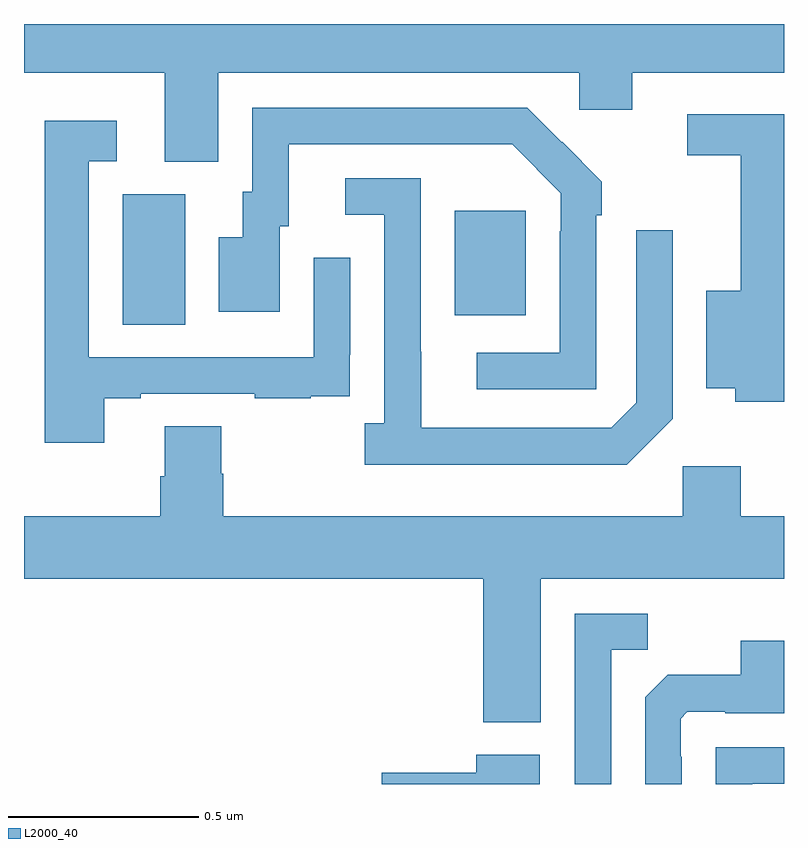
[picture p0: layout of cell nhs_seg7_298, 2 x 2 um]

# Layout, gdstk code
import gdstk
lib = gdstk.Library(unit=1e-6, precision=1e-09)
def R(c, l, rs):  # rectangles x0, y0, x1, y1
    for r in rs: c.add(gdstk.rectangle(r[:2], r[2:], *l))
def P(c, l, *ps):  # polygons
    for p in ps: c.add(gdstk.Polygon(p, *l))
L2000_40 = (2000, 40)

nhs_seg7_298 = lib.new_cell('nhs_seg7_298')
R(nhs_seg7_298, L2000_40, [(114.26,1077.208,114.424,1077.552), (115.133,1077.233,115.321,1077.508)])
P(nhs_seg7_298, L2000_40, [(114.511,1077.872),(115.461,1077.872),(115.461,1077.774),(115.6,1077.774),(115.6,1077.872),(116,1077.872),(116,1078),(114,1078),(114,1077.872),(114.371,1077.872),(114.371,1077.637),(114.511,1077.637)],
  [(115.506,1077.497),(115.521,1077.497),(115.521,1077.585),(115.416,1077.69),(115.415,1077.689),(115.324,1077.78),(114.6,1077.78),(114.6,1077.558),(114.575,1077.558),(114.575,1077.439),(114.512,1077.439),(114.512,1077.243),(114.673,1077.243),(114.673,1077.468),(114.697,1077.468),(114.697,1077.684),(115.285,1077.684),(115.413,1077.555),(115.413,1077.455),(115.41,1077.455),(115.41,1077.135),(115.191,1077.135),(115.191,1077.039),(115.506,1077.039)],
  [(116,1077.762),(115.746,1077.762),(115.746,1077.654),(115.886,1077.654),(115.886,1077.298),(115.796,1077.298),(115.796,1077.041),(115.872,1077.041),(115.872,1077.006),(116,1077.006)],
  [(114.211,1077.015),(114.307,1077.015),(114.307,1077.027),(114.607,1077.027),(114.607,1077.015),(114.755,1077.015),(114.755,1077.021),(114.857,1077.021),(114.857,1077.13),(114.858,1077.13),(114.858,1077.385),(114.762,1077.385),(114.762,1077.123),(114.171,1077.123),(114.171,1077.639),(114.244,1077.639),(114.244,1077.745),(114.055,1077.745),(114.055,1076.898),(114.211,1076.898)],
  [(115.707,1076.961),(115.707,1077.457),(115.611,1077.457),(115.611,1077.003),(115.545,1076.937),(115.045,1076.937),(115.045,1077.137),(115.044,1077.137),(115.044,1077.594),(114.846,1077.594),(114.846,1077.498),(114.948,1077.498),(114.948,1076.95),(114.897,1076.95),(114.897,1076.84),(115.586,1076.84)],
  [(115.36,1076.54),(116,1076.54),(116,1076.704),(115.886,1076.704),(115.886,1076.836),(115.734,1076.836),(115.734,1076.704),(114.524,1076.704),(114.524,1076.817),(114.519,1076.817),(114.519,1076.942),(114.371,1076.942),(114.371,1076.81),(114.359,1076.81),(114.359,1076.704),(114,1076.704),(114,1076.54),(115.208,1076.54),(115.208,1076.162),(115.36,1076.162)],
  [(115.545,1076.353),(115.641,1076.353),(115.641,1076.448),(115.449,1076.448),(115.449,1076),(115.545,1076)],
  [(115.731,1076.072),(115.728,1076.072),(115.728,1076.172),(115.746,1076.19),(115.846,1076.19),(115.846,1076.186),(116,1076.186),(116,1076.377),(115.886,1076.377),(115.886,1076.287),(115.694,1076.287),(115.635,1076.228),(115.635,1076),(115.731,1076)],
  [(115.917,1076.001),(116,1076.001),(116,1076.097),(115.821,1076.097),(115.821,1076),(115.917,1076)],
  [(115.357,1076.077),(115.19,1076.077),(115.19,1076.03),(114.942,1076.03),(114.942,1076),(115.357,1076)])

lib.write_gds('nhs_seg7_298.gds')
